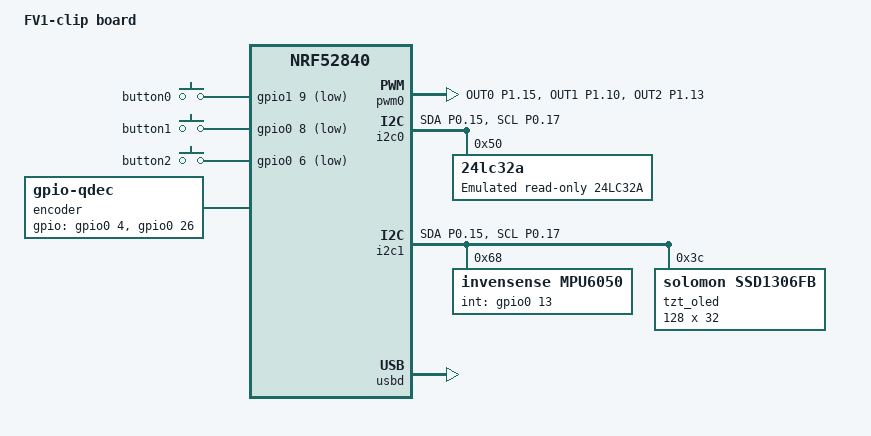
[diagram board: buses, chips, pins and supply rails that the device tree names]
/dts-v1/;
#include <nordic/nrf52840_qiaa.dtsi>
#include <dt-bindings/input/input-event-codes.h>

/ {
	model = "FV1-clip board";
	compatible = "nvl,fvclip";

	chosen {
		zephyr,sram = &sram0;
		zephyr,flash = &flash0;
		zephyr,code-partition = &slot0_partition;
		zephyr,display = &tzt_oled;
	};

	buttons {
		compatible = "gpio-keys";
		status = "okay";
		button0: button_0 {
			/* right */
			gpios = <&gpio1 9 (GPIO_PULL_UP | GPIO_ACTIVE_LOW)>;
			zephyr,code = <INPUT_KEY_0>;
		};
		button1: button_1 {
			/* mid */
			gpios = <&gpio0 8 (GPIO_PULL_UP | GPIO_ACTIVE_LOW)>;
			zephyr,code = <INPUT_KEY_1>;
		};
		button2: button_2 {
			/* left */
			gpios = <&gpio0 6 (GPIO_PULL_UP | GPIO_ACTIVE_LOW)>;
			zephyr,code = <INPUT_KEY_2>;
		};
	};

	encoder {
		compatible = "gpio-qdec";
		status = "okay";
		gpios = <&gpio0 4 (GPIO_PULL_UP | GPIO_ACTIVE_HIGH)>,
			<&gpio0 26 (GPIO_PULL_UP | GPIO_ACTIVE_HIGH)>;
		steps-per-period = <4>;
		zephyr,axis = <INPUT_REL_Y>;
		sample-time-us = <2000>;
		idle-timeout-ms = <200>;
	};

	outputs {
		compatible = "gpio-noinit";
		gpio_s0		{gpios = < &gpio1 2 GPIO_ACTIVE_HIGH >;};
		gpio_s1 	{gpios = < &gpio1 4 GPIO_ACTIVE_HIGH >;};
		gpio_s2 	{gpios = < &gpio1 6 GPIO_ACTIVE_HIGH >;};

		gpio_gain0 	{gpios = < &gpio1 0 GPIO_ACTIVE_HIGH >;};
		gpio_gain1 	{gpios = < &gpio0 24 GPIO_ACTIVE_HIGH >;};

		gpio_dsp_clk 	{gpios = < &gpio0 22 GPIO_ACTIVE_LOW >;};
		gpio_oled_pwr 	{gpios = < &gpio0 20 GPIO_ACTIVE_LOW >;};
		gpio_pa_pwr 	{gpios = < &gpio0 2 GPIO_ACTIVE_HIGH >;};
	};

	inputs {
		compatible = "gpio-noinit";
		gpio_chg {gpios = < &gpio0 12 (GPIO_PULL_UP | GPIO_ACTIVE_LOW) >;};
	};

	aliases {
		pwm-0 = &pwm0;
		sw0 = &button0;
		sw1 = &button1;
		sw2 = &button2;
		mcuboot-button0 = &button0;
		watchdog0 = &wdt0;
	};
};

&gpiote {
	status = "okay";
};

&gpio0 {
	status = "okay";
};

&gpio1 {
	status = "okay";
};

&pwm0 {
	status = "okay";
	pinctrl-0 = <&pwm0_default>;
	/delete-property/ pinctrl-1;
	pinctrl-names = "default";
};

&i2c0 {
	compatible = "nordic,nrf-twis";
	status = "okay";

	/* TODO: use pinctrl DT macros */
	pinctrl-0 = <&i2c1_default>;
	pinctrl-names = "default";

	eeprom:24lc32a@50 {
		label = "Emulated read-only 24LC32A";
		reg = <0x50>;
	};
};

&i2c1 {
	compatible = "nordic,nrf-twim";
	status = "okay";

	pinctrl-0 = <&i2c1_default>;
	pinctrl-names = "default";

	/* Necessary for SSD1306 driver */
	zephyr,concat-buf-size = <1024>;

	mpu6050@68 {
		compatible = "invensense,mpu6050";
		reg = <0x68>;
		status = "okay";
		int-gpios = <&gpio0 13 GPIO_ACTIVE_HIGH>;
	};

	tzt_oled: ssd1306@3c {
		compatible = "solomon,ssd1306fb";
		status = "okay";
		reg = <0x3c>;
		width = <128>;
		height = <32>;
		segment-offset = <0>;
		page-offset = <0>;
		display-offset = <0>;
		multiplex-ratio = <31>;
		/* segment-remap; */
		/* com-invdir; */
		com-sequential;
		prechargep = <0x22>;
	};
};

&flash0 {
	partitions {
		compatible = "fixed-partitions";
		#address-cells = <1>;
		#size-cells = <1>;

		boot_partition: partition@0 {
			label = "mcuboot";
			reg = <0x00000000 0x0000C000>;
		};
		slot0_partition: partition@c000 {
			label = "image-0";
			reg = <0x0000C000 0x00076000>;
		};
		slot1_partition: partition@82000 {
			label = "image-1";
			reg = <0x00082000 0x00076000>;
		};

		/*
		 * The flash starting at 0x000f8000 and ending at
		 * 0x000fffff is reserved for use by the application.
		 */

		/*
		 * Storage partition will be used by FCB/LittleFS/NVS
		 * if enabled.
		 */
		storage_partition: partition@f8000 {
			label = "storage";
			reg = <0x000f8000 0x00008000>;
		};
	};
};

zephyr_udc0: &usbd {
	compatible = "nordic,nrf-usbd";
	status = "okay";

	cdc_acm_uart0: cdc_acm_uart0 {
		compatible = "zephyr,cdc-acm-uart";
	};
};

&pinctrl {
	i2c0_default: i2c0_default {
		group1 {
			psels = <NRF_PSEL(TWIM_SDA, 0, 29)>,
				<NRF_PSEL(TWIM_SCL, 0, 31)>;
			bias-pull-up;
		};
	};

	i2c1_default: i2c1_default {
		group1 {
			psels = <NRF_PSEL(TWIM_SDA, 0, 15)>,
				<NRF_PSEL(TWIM_SCL, 0, 17)>;
			bias-pull-up;
		};
	};

	pwm0_default: pwm0_default {
		group1 {
			/* POT0 and POT1 are swapped on the DSP board */
			psels = <NRF_PSEL(PWM_OUT0, 1, 15)>,
				<NRF_PSEL(PWM_OUT1, 1, 10)>,
				<NRF_PSEL(PWM_OUT2, 1, 13)>;
			/delete-property/ nordic,invert;
		};
	};
};
